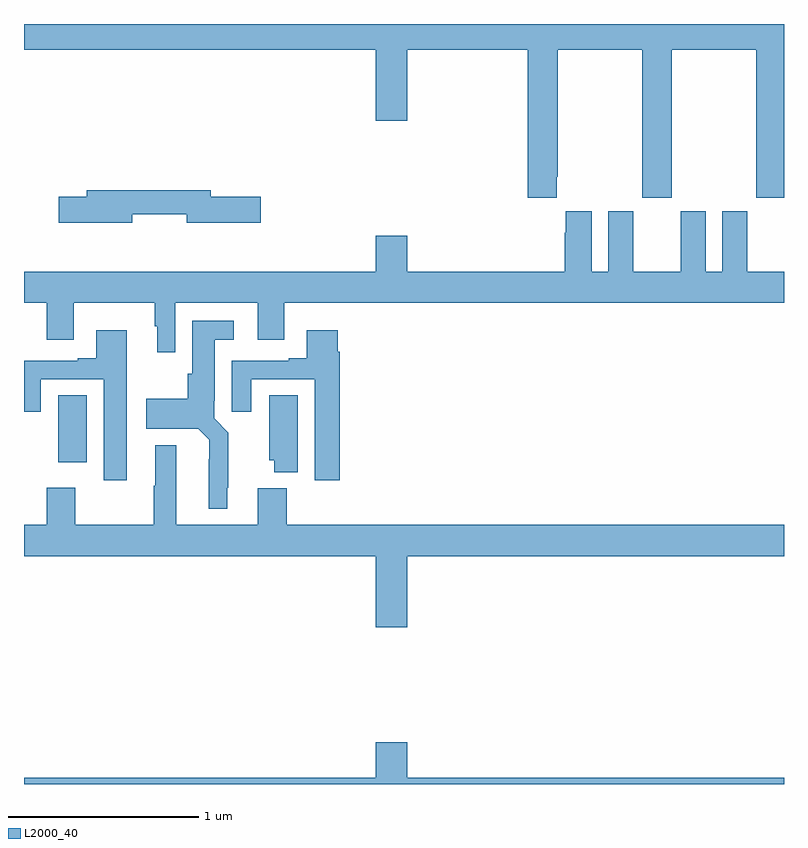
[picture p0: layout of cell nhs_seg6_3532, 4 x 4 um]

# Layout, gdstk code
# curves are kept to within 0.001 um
import gdstk
lib = gdstk.Library(unit=1e-6, precision=1e-09)
def R(c, l, rs):  # rectangles x0, y0, x1, y1
    for r in rs: c.add(gdstk.rectangle(r[:2], r[2:], *l))
def P(c, l, *ps):  # polygons
    for p in ps: c.add(gdstk.Polygon(p, *l))
L2000_40 = (2000, 40)

nhs_seg6_3532 = lib.new_cell('nhs_seg6_3532')
R(nhs_seg6_3532, L2000_40, [(319.181,917.193,319.33,917.546)])
P(nhs_seg6_3532, L2000_40, [(321.805,918.697),(321.81,918.697),(321.81,919.364),(322.255,919.364),(322.255,918.585),(322.41,918.585),(322.41,919.364),(322.855,919.364),(322.855,918.585),(323,918.585),(323,919.5),(319,919.5),(319,919.364),(320.852,919.364),(320.852,918.99),(321.016,918.99),(321.016,919.364),(321.65,919.364),(321.65,918.585),(321.805,918.585)],
  [(319.57,918.498),(319.856,918.498),(319.856,918.455),(320.245,918.455),(320.245,918.59),(319.984,918.59),(319.984,918.626),(319.331,918.626),(319.331,918.59),(319.182,918.59),(319.182,918.455),(319.57,918.455)],
  [(323,918.196),(322.807,918.196),(322.807,918.514),(322.676,918.514),(322.676,918.196),(322.588,918.196),(322.588,918.514),(322.457,918.514),(322.457,918.196),(322.207,918.196),(322.207,918.514),(322.076,918.514),(322.076,918.196),(321.988,918.196),(321.988,918.514),(321.851,918.514),(321.851,918.401),(321.845,918.401),(321.845,918.196),(321.016,918.196),(321.016,918.385),(320.852,918.385),(320.852,918.196),(319,918.196),(319,918.032),(319.121,918.032),(319.121,917.838),(319.261,917.838),(319.261,918.032),(319.689,918.032),(319.689,917.91),(319.7,917.91),(319.7,917.772),(319.797,917.772),(319.797,918.032),(320.231,918.032),(320.231,917.838),(320.371,917.838),(320.371,918.032),(323,918.032)],
  [(320.071,917.059),(320.075,917.059),(320.075,917.35),(320.001,917.424),(320.001,917.518),(320.005,917.518),(320.005,917.837),(320.104,917.837),(320.104,917.938),(319.886,917.938),(319.886,917.658),(319.861,917.658),(319.861,917.527),(319.644,917.527),(319.644,917.369),(319.917,917.369),(319.974,917.312),(319.973,916.949),(320.071,916.949)],
  [(320.663,917.774),(320.65,917.774),(320.65,917.887),(320.489,917.887),(320.489,917.74),(320.393,917.74),(320.393,917.727),(320.093,917.727),(320.093,917.46),(320.197,917.46),(320.197,917.631),(320.531,917.631),(320.531,917.1),(320.663,917.1)],
  [(319.54,917.887),(319.379,917.887),(319.379,917.74),(319.283,917.74),(319.283,917.727),(319,917.727),(319,917.46),(319.087,917.46),(319.087,917.631),(319.421,917.631),(319.421,917.1),(319.54,917.1)],
  [(320.44,917.546),(320.291,917.546),(320.291,917.205),(320.318,917.205),(320.318,917.141),(320.44,917.141)],
  [(321.016,916.7),(323,916.7),(323,916.864),(320.384,916.864),(320.384,917.056),(320.231,917.056),(320.231,916.864),(319.801,916.864),(319.801,917.284),(319.691,917.284),(319.691,917.069),(319.684,917.069),(319.684,916.864),(319.269,916.864),(319.269,917.059),(319.121,917.059),(319.121,916.864),(319,916.864),(319,916.7),(320.852,916.7),(320.852,916.326),(321.016,916.326)],
  [(323,915.532),(321.016,915.532),(321.016,915.721),(320.852,915.721),(320.852,915.532),(319,915.532),(319,915.5),(323,915.5)])

lib.write_gds('nhs_seg6_3532.gds')
